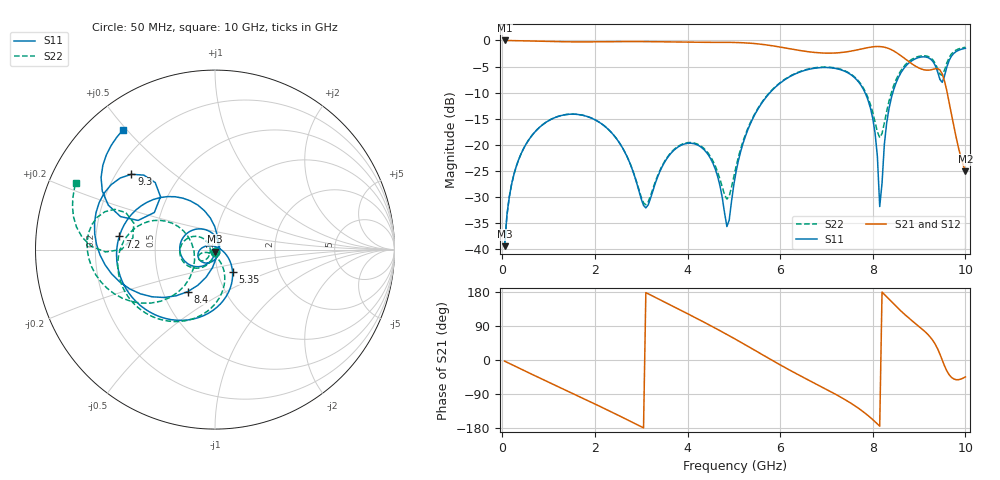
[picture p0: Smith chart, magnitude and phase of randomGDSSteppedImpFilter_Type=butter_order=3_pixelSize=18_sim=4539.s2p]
! freq	dB(S11)	phase(S11)	dB(S12)	phase(S12)
!  dB(S21)	phase(S21)	dB(S22)	phase(S22)
!S-par simulation data
#  GHz  S  DB  R 50
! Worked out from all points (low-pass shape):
!   200 points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, 50 MHz to 10 GHz, reference 50 ohm
!   highest |S21| = -0.01 dB at 50 MHz (marker M1); lowest = -25.1 dB at 10 GHz (marker M2)
!   |S21| within 3 dB of the highest: start of sweep to 8.62 GHz
!   lowest |S11| = -39.4 dB at 50 MHz (marker M3), VSWR 1.02, Z = 49.9 - j1.07 ohm
!   |S11| at or under -10 dB: start of sweep to 5.781 GHz; 7.832 GHz to 8.433 GHz (601.5 MHz wide, 7.4 % of centre)
!   |S22| runs from -39.4 to -1.3 dB; largest |S21 - S12| = 0
!   S11 on the Smith chart (normalised r, x): 50 MHz: 1.00, -0.02; 5.35 GHz: 1.18, -0.30; 7.2 GHz: 0.30, +0.06; 8.4 GHz: 0.67, -0.34; 9.3 GHz: 0.26, +0.36; 10 GHz: 0.11, +0.49
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0.05  -39.43 -92.2  -0.01 -3.0  -0.01 -3.0  -39.43 -91.9
0.2  -27.61 -102.4  -0.03 -11.9  -0.03 -11.9  -27.60 -101.2
0.5  -20.07 -121.5  -0.08 -29.6  -0.08 -29.6  -20.07 -118.5
1.75  -14.37 161.1  -0.28 -101.6  -0.28 -101.6  -14.37 174.6
2.5  -19.25 108.4  -0.23 -145.7  -0.23 -145.7  -19.24 140.1
3.1  -32.09 -8.8  -0.23 177.9  -0.23 177.9  -31.49 -174.9
3.4  -25.18 -90.7  -0.27 159.4  -0.27 159.4  -24.96 -131.6
4.3  -20.50 -169.8  -0.36 103.3  -0.36 103.3  -20.31 -160.1
4.85  -35.68 80.4  -0.37 67.4  -0.37 67.4  -30.41 -121.4
5.05  -25.08 -18.0  -0.40 53.8  -0.40 53.8  -24.06 -69.2
5.35  -16.10 -51.4  -0.53 32.8  -0.53 32.8  -15.88 -70.2
6.7  -5.39 -153.3  -2.26 -58.6  -2.26 -58.6  -5.31 -146.0
7.2  -5.38 172.2  -2.40 -90.7  -2.40 -90.7  -5.29 -173.8
7.9  -11.50 111.2  -1.37 -146.9  -1.37 -146.9  -11.04 148.4
8.05  -17.78 90.7  -1.18 -163.0  -1.18 -163.0  -15.65 154.4
8.15  -31.83 40.8  -1.17 -174.6  -1.17 -174.6  -18.62 -174.5
8.35  -13.10 -115.8  -1.57 160.6  -1.57 160.6  -11.67 -130.1
8.4  -11.06 -123.1  -1.77 154.4  -1.77 154.4  -10.04 -131.0
8.9  -3.60 177.6  -4.81 98.3  -4.81 98.3  -3.36 -168.2
9.3  -4.05 138.0  -5.54 51.1  -5.54 51.1  -3.76 161.0
9.6  -5.07 160.8  -9.70 -29.0  -9.70 -29.0  -4.30 -178.8
10  -1.51 127.7  -25.08 -44.6  -25.08 -44.6  -1.31 154.5
